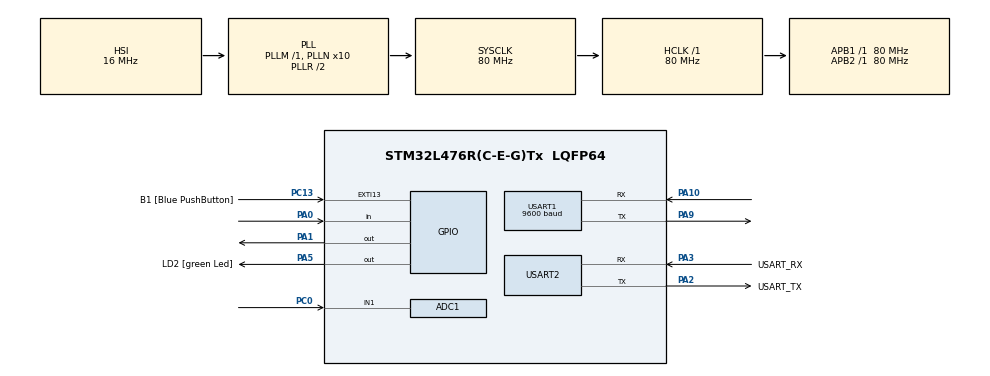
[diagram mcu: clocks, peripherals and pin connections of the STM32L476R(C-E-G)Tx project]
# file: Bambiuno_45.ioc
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ADC1.Channel-0\#ChannelRegularConversion=ADC_CHANNEL_1
ADC1.NbrOfConversionFlag=1
ADC1.OffsetNumber-0\#ChannelRegularConversion=ADC_OFFSET_NONE
ADC1.OversamplingMode=ENABLE
ADC1.Rank-0\#ChannelRegularConversion=1
ADC1.Ratio=ADC_OVERSAMPLING_RATIO_4
ADC1.RightBitShift=ADC_RIGHTBITSHIFT_2
ADC1.SamplingTime-0\#ChannelRegularConversion=ADC_SAMPLETIME_2CYCLES_5
ADC1.master=1
Mcu.Family=STM32L4
Mcu.Name=STM32L476R(C-E-G)Tx
Mcu.Package=LQFP64
NVIC.PriorityGroup=NVIC_PRIORITYGROUP_4
PA0.Signal=GPIO_Input
PA1.Signal=GPIO_Output
PA10.Mode=Asynchronous
PA10.Signal=USART1_RX
PA13\ (JTMS-SWDIO).GPIO_Label=TMS
PA13\ (JTMS-SWDIO).Mode=Serial_Wire
PA13\ (JTMS-SWDIO).Signal=SYS_JTMS-SWDIO
PA14\ (JTCK-SWCLK).GPIO_Label=TCK
PA14\ (JTCK-SWCLK).Mode=Serial_Wire
PA14\ (JTCK-SWCLK).Signal=SYS_JTCK-SWCLK
PA2.GPIO_Label=USART_TX
PA2.GPIO_Mode=GPIO_MODE_AF_PP
PA2.GPIO_PuPd=GPIO_NOPULL
PA2.GPIO_Speed=GPIO_SPEED_FREQ_VERY_HIGH
PA2.Mode=Asynchronous
PA2.Signal=USART2_TX
PA3.GPIO_Label=USART_RX
PA3.GPIO_Mode=GPIO_MODE_AF_PP
PA3.GPIO_PuPd=GPIO_NOPULL
PA3.GPIO_Speed=GPIO_SPEED_FREQ_VERY_HIGH
PA3.Mode=Asynchronous
PA3.Signal=USART2_RX
PA5.GPIO_Label=LD2 [green Led]
PA5.GPIO_ModeDefaultOutputPP=GPIO_MODE_OUTPUT_PP
PA5.GPIO_PuPd=GPIO_NOPULL
PA5.GPIO_Speed=GPIO_SPEED_FREQ_LOW
PA5.Signal=GPIO_Output
PA9.Mode=Asynchronous
PA9.Signal=USART1_TX
PB3\ (JTDO-TRACESWO).GPIO_Label=SWO
PB3\ (JTDO-TRACESWO).Signal=SYS_JTDO-SWO
PC0.Signal=ADCx_IN1
PC13.GPIO_Label=B1 [Blue PushButton]
PC13.GPIO_ModeDefaultEXTI=GPIO_MODE_IT_FALLING
PC13.GPIO_PuPd=GPIO_NOPULL
PC13.Signal=GPXTI13
PC14-OSC32_IN\ (PC14).Mode=LSE-External-Oscillator
PC14-OSC32_IN\ (PC14).Signal=RCC_OSC32_IN
PC15-OSC32_OUT\ (PC15).Mode=LSE-External-Oscillator
PC15-OSC32_OUT\ (PC15).Signal=RCC_OSC32_OUT
PH0-OSC_IN\ (PH0).Signal=RCC_OSC_IN
PH1-OSC_OUT\ (PH1).Signal=RCC_OSC_OUT
ProjectManager.HeapSize=0x200
ProjectManager.StackSize=0x400
ProjectManager.TargetToolchain=STM32CubeIDE
RCC.ADCFreq_Value=64000000
RCC.AHBFreq_Value=80000000
RCC.APB1Freq_Value=80000000
RCC.APB1TimFreq_Value=80000000
RCC.APB2Freq_Value=80000000
RCC.APB2TimFreq_Value=80000000
RCC.CortexFreq_Value=80000000
RCC.HCLKFreq_Value=80000000
RCC.HSE_VALUE=8000000
RCC.HSI_VALUE=16000000
RCC.MSI_VALUE=4000000
RCC.PLLN=10
RCC.PLLSourceVirtual=RCC_PLLSOURCE_HSI
RCC.PREFETCH_ENABLE=1
RCC.SYSCLKFreq_VALUE=80000000
RCC.SYSCLKSource=RCC_SYSCLKSOURCE_PLLCLK
RCC.USBFreq_Value=64000000
RCC.VCOOutputFreq_Value=160000000
SH.ADCx_IN1.0=ADC1_IN1,IN1-Single-Ended
USART1.BaudRate=9600
USART1.VirtualMode-Asynchronous=VM_ASYNC
USART2.VirtualMode-Asynchronous=VM_ASYNC
board=NUCLEO-L476RG

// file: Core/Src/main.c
/* USER CODE BEGIN Header */
/**
  ******************************************************************************
  * @file           : main.c
  * @brief          : Main program body
  ******************************************************************************
  * @attention
  *
  * Copyright (c) 2025 STMicroelectronics.
  * All rights reserved.
  *
  * This software is licensed under terms that can be found in the LICENSE file
  * in the root directory of this software component.
  * If no LICENSE file comes with this software, it is provided AS-IS.
  *
  ******************************************************************************
  */
/* USER CODE END Header */
#include "main.h"

/* USER CODE BEGIN Includes */
#include <stdio.h>
#include <string.h>
#include <math.h>
/* USER CODE END Includes */

ADC_HandleTypeDef hadc1;

UART_HandleTypeDef huart1;
UART_HandleTypeDef huart2;

void SystemClock_Config(void);
static void MX_GPIO_Init(void);
static void MX_USART2_UART_Init(void);
static void MX_USART1_UART_Init(void);
static void MX_ADC1_Init(void);

/* USER CODE BEGIN 0 */
#define NEXT_BUFF_SZ 50
uint8_t NextionBuff[NEXT_BUFF_SZ];

int SendNextion(char *buf, uint32_t size) {
	uint32_t i;

	if( size > NEXT_BUFF_SZ ) return -1;
	for( i=0; i<size; i++ ) NextionBuff[i] = buf[i];
	NextionBuff[i++] = 0xff;
	NextionBuff[i++] = 0xff;
	NextionBuff[i++] = 0xff;

	HAL_UART_Transmit(&huart1, NextionBuff, i,100);

	return 0;
}

#define R2val 465.0
#define VCC 3.31

double calcTempC( uint32_t adcVal )  {
	static double a=0.001064, b=0.00024823, c=-0.0000000026;

	double rcalc, rcalc_ln, t_inv;

	if( adcVal == 0 ) return 150.0;

	//Convert ADC counts to millivolts
	rcalc = R2val * ( (4096.0 / (double) adcVal ) - 1 );
	rcalc_ln = log(rcalc);

	t_inv = a+b*rcalc_ln+c*rcalc_ln*rcalc_ln*rcalc_ln;
	if( t_inv> 0 ) {
		return (1/t_inv) - 273.15;
	} else {
		return 455.0;
	}

}

uint32_t loadCellVal( ) {
	int i;
	uint32_t count;

	HAL_GPIO_WritePin( GPIOA, GPIO_PIN_1, GPIO_PIN_RESET ); //Clear clock
	while( HAL_GPIO_ReadPin(GPIOA, GPIO_PIN_0) == 1); //Wait for conversion
	count = 0;
	for( i=0; i<24; i++ ) {
		HAL_GPIO_WritePin( GPIOA, GPIO_PIN_1, GPIO_PIN_SET );
		count <<= 1;
		HAL_GPIO_WritePin( GPIOA, GPIO_PIN_1, GPIO_PIN_RESET );
	    count = count + (uint32_t) HAL_GPIO_ReadPin(GPIOA, GPIO_PIN_0);
	}
	HAL_GPIO_WritePin( GPIOA, GPIO_PIN_1, GPIO_PIN_SET );
	count ^= 0x800000;
	HAL_GPIO_WritePin( GPIOA, GPIO_PIN_1, GPIO_PIN_RESET );

	return count;
}

/* USER CODE END 0 */

int main(void)
{

  /* USER CODE BEGIN 1 */
  uint32_t adc;
  uint8_t rxData[10];
  uint8_t txData[20];
  uint32_t lc;
  /* USER CODE END 1 */

  /* MCU Configuration--------------------------------------------------------*/

  /* Reset of all peripherals, Initializes the Flash interface and the Systick. */
  HAL_Init();

  /* Configure the system clock */
  SystemClock_Config();

  /* Initialize all configured peripherals */
  MX_GPIO_Init();
  MX_USART2_UART_Init();
  MX_USART1_UART_Init();
  MX_ADC1_Init();

  /* Infinite loop */
  /* USER CODE BEGIN WHILE */
  while (1)
  {
	HAL_ADC_Start(&hadc1);
	adc = HAL_ADC_GetValue(&hadc1);
	lc = loadCellVal();
	sprintf((char *) txData, "t5.txt=\"%lu\"", lc );
	SendNextion( (char *) txData, strlen( (char *) txData ));

	sprintf((char *) txData, "z1.val=%lu", adc*180/4096);
	SendNextion( (char *) txData, strlen( (char *) txData ));
	sprintf((char *) txData, "t0.txt=\"%.1f\"", calcTempC(adc) );
	SendNextion( (char *) txData, strlen( (char *) txData ));

	HAL_Delay(100);

	if(  HAL_UART_Receive(&huart1, rxData, 5, 20) != HAL_TIMEOUT ) {
		rxData[10] = 0;
		//memset(txData, 255, 20);
		//for( int i=0; i<20; i++ ) txData[i] = 255;
		sprintf((char *) txData, "t0.txt=\"%lu\"", adc);
		//strcpy((char *) txData,"cls BLUE");
		adc = strlen(txData);
		txData[adc] = 255;
		txData[adc+1] = 255;
		txData[adc+2] = 255;
		HAL_UART_Transmit(&huart1, txData, adc+3,100);
	}
    /* USER CODE END WHILE */

  }
}

void SystemClock_Config(void)
{
  RCC_OscInitTypeDef RCC_OscInitStruct = {0};
  RCC_ClkInitTypeDef RCC_ClkInitStruct = {0};

  /** Configure the main internal regulator output voltage
  */
  if (HAL_PWREx_ControlVoltageScaling(PWR_REGULATOR_VOLTAGE_SCALE1) != HAL_OK)
  {
    Error_Handler();
  }

  /** Initializes the RCC Oscillators according to the specified parameters
  * in the RCC_OscInitTypeDef structure.
  */
  RCC_OscInitStruct.OscillatorType = RCC_OSCILLATORTYPE_HSI;
  RCC_OscInitStruct.HSIState = RCC_HSI_ON;
  RCC_OscInitStruct.HSICalibrationValue = RCC_HSICALIBRATION_DEFAULT;
  RCC_OscInitStruct.PLL.PLLState = RCC_PLL_ON;
  RCC_OscInitStruct.PLL.PLLSource = RCC_PLLSOURCE_HSI;
  RCC_OscInitStruct.PLL.PLLM = 1;
  RCC_OscInitStruct.PLL.PLLN = 10;
  RCC_OscInitStruct.PLL.PLLP = RCC_PLLP_DIV7;
  RCC_OscInitStruct.PLL.PLLQ = RCC_PLLQ_DIV2;
  RCC_OscInitStruct.PLL.PLLR = RCC_PLLR_DIV2;
  if (HAL_RCC_OscConfig(&RCC_OscInitStruct) != HAL_OK)
  {
    Error_Handler();
  }

  /** Initializes the CPU, AHB and APB buses clocks
  */
  RCC_ClkInitStruct.ClockType = RCC_CLOCKTYPE_HCLK|RCC_CLOCKTYPE_SYSCLK
                              |RCC_CLOCKTYPE_PCLK1|RCC_CLOCKTYPE_PCLK2;
  RCC_ClkInitStruct.SYSCLKSource = RCC_SYSCLKSOURCE_PLLCLK;
  RCC_ClkInitStruct.AHBCLKDivider = RCC_SYSCLK_DIV1;
  RCC_ClkInitStruct.APB1CLKDivider = RCC_HCLK_DIV1;
  RCC_ClkInitStruct.APB2CLKDivider = RCC_HCLK_DIV1;

  if (HAL_RCC_ClockConfig(&RCC_ClkInitStruct, FLASH_LATENCY_4) != HAL_OK)
  {
    Error_Handler();
  }
}

static void MX_ADC1_Init(void)
{

  ADC_MultiModeTypeDef multimode = {0};
  ADC_ChannelConfTypeDef sConfig = {0};

  /** Common config
  */
  hadc1.Instance = ADC1;
  hadc1.Init.ClockPrescaler = ADC_CLOCK_ASYNC_DIV1;
  hadc1.Init.Resolution = ADC_RESOLUTION_12B;
  hadc1.Init.DataAlign = ADC_DATAALIGN_RIGHT;
  hadc1.Init.ScanConvMode = ADC_SCAN_DISABLE;
  hadc1.Init.EOCSelection = ADC_EOC_SINGLE_CONV;
  hadc1.Init.LowPowerAutoWait = DISABLE;
  hadc1.Init.ContinuousConvMode = DISABLE;
  hadc1.Init.NbrOfConversion = 1;
  hadc1.Init.DiscontinuousConvMode = DISABLE;
  hadc1.Init.ExternalTrigConv = ADC_SOFTWARE_START;
  hadc1.Init.ExternalTrigConvEdge = ADC_EXTERNALTRIGCONVEDGE_NONE;
  hadc1.Init.DMAContinuousRequests = DISABLE;
  hadc1.Init.Overrun = ADC_OVR_DATA_PRESERVED;
  hadc1.Init.OversamplingMode = ENABLE;
  hadc1.Init.Oversampling.Ratio = ADC_OVERSAMPLING_RATIO_4;
  hadc1.Init.Oversampling.RightBitShift = ADC_RIGHTBITSHIFT_2;
  hadc1.Init.Oversampling.TriggeredMode = ADC_TRIGGEREDMODE_SINGLE_TRIGGER;
  hadc1.Init.Oversampling.OversamplingStopReset = ADC_REGOVERSAMPLING_CONTINUED_MODE;
  if (HAL_ADC_Init(&hadc1) != HAL_OK)
  {
    Error_Handler();
  }

  /** Configure the ADC multi-mode
  */
  multimode.Mode = ADC_MODE_INDEPENDENT;
  if (HAL_ADCEx_MultiModeConfigChannel(&hadc1, &multimode) != HAL_OK)
  {
    Error_Handler();
  }

  /** Configure Regular Channel
  */
  sConfig.Channel = ADC_CHANNEL_1;
  sConfig.Rank = ADC_REGULAR_RANK_1;
  sConfig.SamplingTime = ADC_SAMPLETIME_2CYCLES_5;
  sConfig.SingleDiff = ADC_SINGLE_ENDED;
  sConfig.OffsetNumber = ADC_OFFSET_NONE;
  sConfig.Offset = 0;
  if (HAL_ADC_ConfigChannel(&hadc1, &sConfig) != HAL_OK)
  {
    Error_Handler();
  }

}

static void MX_USART1_UART_Init(void)
{

  huart1.Instance = USART1;
  huart1.Init.BaudRate = 9600;
  huart1.Init.WordLength = UART_WORDLENGTH_8B;
  huart1.Init.StopBits = UART_STOPBITS_1;
  huart1.Init.Parity = UART_PARITY_NONE;
  huart1.Init.Mode = UART_MODE_TX_RX;
  huart1.Init.HwFlowCtl = UART_HWCONTROL_NONE;
  huart1.Init.OverSampling = UART_OVERSAMPLING_16;
  huart1.Init.OneBitSampling = UART_ONE_BIT_SAMPLE_DISABLE;
  huart1.AdvancedInit.AdvFeatureInit = UART_ADVFEATURE_NO_INIT;
  if (HAL_UART_Init(&huart1) != HAL_OK)
  {
    Error_Handler();
  }

}

static void MX_USART2_UART_Init(void)
{

  huart2.Instance = USART2;
  huart2.Init.BaudRate = 115200;
  huart2.Init.WordLength = UART_WORDLENGTH_8B;
  huart2.Init.StopBits = UART_STOPBITS_1;
  huart2.Init.Parity = UART_PARITY_NONE;
  huart2.Init.Mode = UART_MODE_TX_RX;
  huart2.Init.HwFlowCtl = UART_HWCONTROL_NONE;
  huart2.Init.OverSampling = UART_OVERSAMPLING_16;
  huart2.Init.OneBitSampling = UART_ONE_BIT_SAMPLE_DISABLE;
  huart2.AdvancedInit.AdvFeatureInit = UART_ADVFEATURE_NO_INIT;
  if (HAL_UART_Init(&huart2) != HAL_OK)
  {
    Error_Handler();
  }

}

static void MX_GPIO_Init(void)
{
  GPIO_InitTypeDef GPIO_InitStruct = {0};

  /* GPIO Ports Clock Enable */
  __HAL_RCC_GPIOC_CLK_ENABLE();
  __HAL_RCC_GPIOH_CLK_ENABLE();
  __HAL_RCC_GPIOA_CLK_ENABLE();
  __HAL_RCC_GPIOB_CLK_ENABLE();

  /*Configure GPIO pin Output Level */
  HAL_GPIO_WritePin(GPIOA, GPIO_PIN_1|LD2_Pin, GPIO_PIN_RESET);

  /*Configure GPIO pin : B1_Pin */
  GPIO_InitStruct.Pin = B1_Pin;
  GPIO_InitStruct.Mode = GPIO_MODE_IT_FALLING;
  GPIO_InitStruct.Pull = GPIO_NOPULL;
  HAL_GPIO_Init(B1_GPIO_Port, &GPIO_InitStruct);

  /*Configure GPIO pin : PA0 */
  GPIO_InitStruct.Pin = GPIO_PIN_0;
  GPIO_InitStruct.Mode = GPIO_MODE_INPUT;
  GPIO_InitStruct.Pull = GPIO_NOPULL;
  HAL_GPIO_Init(GPIOA, &GPIO_InitStruct);

  /*Configure GPIO pins : PA1 LD2_Pin */
  GPIO_InitStruct.Pin = GPIO_PIN_1|LD2_Pin;
  GPIO_InitStruct.Mode = GPIO_MODE_OUTPUT_PP;
  GPIO_InitStruct.Pull = GPIO_NOPULL;
  GPIO_InitStruct.Speed = GPIO_SPEED_FREQ_LOW;
  HAL_GPIO_Init(GPIOA, &GPIO_InitStruct);

}

void Error_Handler(void)
{
  __disable_irq();
  while (1)
  {
  }
}
